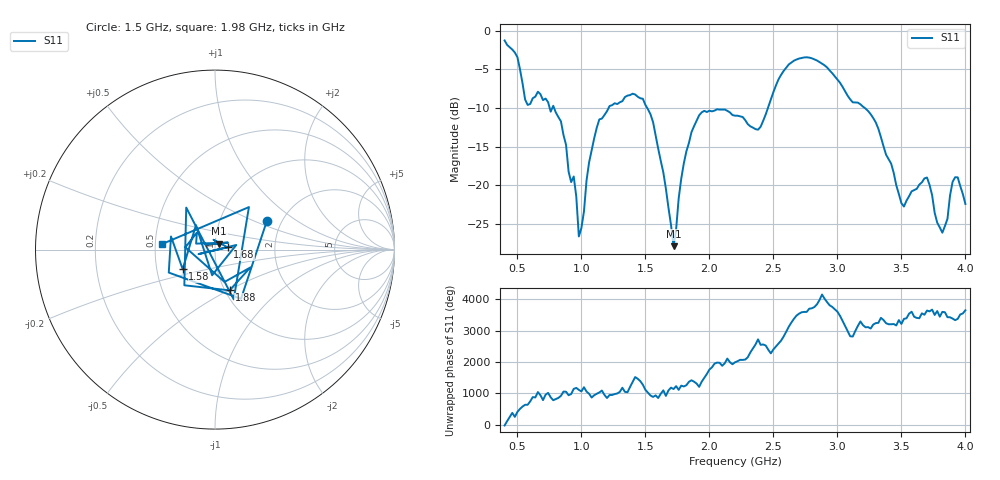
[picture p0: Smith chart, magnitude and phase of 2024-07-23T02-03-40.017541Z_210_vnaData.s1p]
!Created with skrf (http://scikit-rf.org).
# Hz S RI R 50.0
!freq ReS11 ImS11
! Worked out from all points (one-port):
!   181 points, 400 MHz to 4 GHz, reference 50 ohm
!   lowest |S11| = -27.9 dB at 1.72 GHz (marker M1), VSWR 1.08, Z = 52.3 + j3.42 ohm
!   |S11| at or under -10 dB: 786.6 MHz to 1.212 GHz (425.7 MHz wide, 42.6 % of centre); 1.514 GHz to 2.457 GHz (942.7 MHz wide, 47.5 % of centre); 3.214 GHz to end of sweep (the widest 3 of 4)
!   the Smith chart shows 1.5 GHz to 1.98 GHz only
!   S11 on the Smith chart (normalised r, x): 1.5 GHz: 1.68, +0.61; 1.58 GHz: 0.68, -0.16; 1.68 GHz: 1.15, +0.03; 1.88 GHz: 1.05, -0.51; 1.98 GHz: 0.54, +0.04
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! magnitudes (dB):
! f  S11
! 400 MHz  -1.3
! 500 MHz  -3.4
! 580 MHz  -9.6
! 660 MHz  -7.9
! 860 MHz  -13.5
! 940 MHz  -18.9
! 980 MHz  -26.6
! 1.12 GHz  -12.5
! 1.3 GHz  -9.3
! 1.5 GHz  -9.6
! 1.58 GHz  -13.5
! 1.68 GHz  -22.9
! 1.72 GHz  -27.9
! 1.76 GHz  -21.7
! 1.88 GHz  -12.4
! 1.98 GHz  -10.5
! 2.2 GHz  -11.0
! 2.38 GHz  -12.8
! 2.66 GHz  -3.9
! 2.9 GHz  -4.5
! 3.1 GHz  -8.9
! 3.3 GHz  -11.9
! 3.5 GHz  -22.3
! 3.56 GHz  -21.4
! 3.7 GHz  -19.0
! 3.82 GHz  -26.1
! 3.92 GHz  -19.0
! 4 GHz  -22.4
